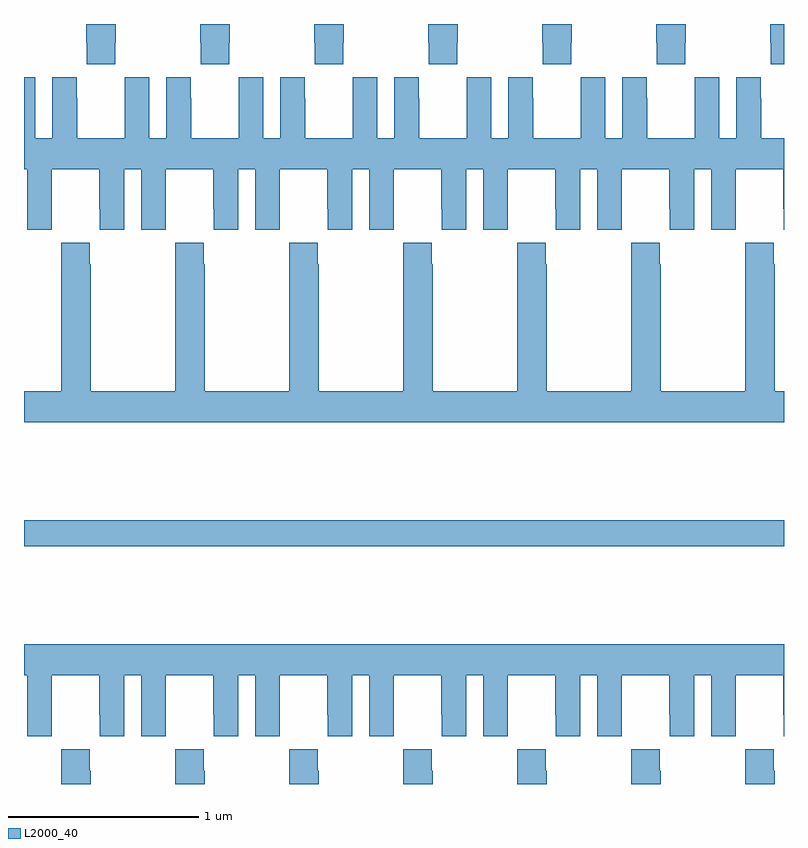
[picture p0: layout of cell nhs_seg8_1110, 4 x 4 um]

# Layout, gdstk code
import gdstk
lib = gdstk.Library(unit=1e-6, precision=1e-09)
def R(c, l, rs):  # rectangles x0, y0, x1, y1
    for r in rs: c.add(gdstk.rectangle(r[:2], r[2:], *l))
def P(c, l, *ps):  # polygons
    for p in ps: c.add(gdstk.Polygon(p, *l))
L2000_40 = (2000, 40)

nhs_seg8_1110 = lib.new_cell('nhs_seg8_1110')
R(nhs_seg8_1110, L2000_40, [(181,1145.152,185,1145.288)])
P(nhs_seg8_1110, L2000_40, [(181.479,1147.801),(181.482,1147.801),(181.482,1147.9),(181.327,1147.9),(181.327,1147.801),(181.329,1147.801),(181.329,1147.689),(181.479,1147.689)],
  [(182.079,1147.801),(182.082,1147.801),(182.082,1147.9),(181.927,1147.9),(181.927,1147.801),(181.929,1147.801),(181.929,1147.689),(182.079,1147.689)],
  [(182.679,1147.801),(182.682,1147.801),(182.682,1147.9),(182.527,1147.9),(182.527,1147.801),(182.529,1147.801),(182.529,1147.689),(182.679,1147.689)],
  [(183.279,1147.801),(183.282,1147.801),(183.282,1147.9),(183.127,1147.9),(183.127,1147.801),(183.129,1147.801),(183.129,1147.689),(183.279,1147.689)],
  [(183.879,1147.801),(183.882,1147.801),(183.882,1147.9),(183.727,1147.9),(183.727,1147.801),(183.729,1147.801),(183.729,1147.689),(183.879,1147.689)],
  [(184.479,1147.801),(184.482,1147.801),(184.482,1147.9),(184.327,1147.9),(184.327,1147.801),(184.329,1147.801),(184.329,1147.689),(184.479,1147.689)],
  [(185,1147.9),(184.927,1147.9),(184.927,1147.801),(184.929,1147.801),(184.929,1147.689),(185,1147.689)],
  [(183.33,1147.508),(183.329,1147.508),(183.329,1147.3),(183.079,1147.3),(183.079,1147.508),(183.078,1147.508),(183.078,1147.621),(182.948,1147.621),(182.948,1147.3),(182.86,1147.3),(182.86,1147.621),(182.73,1147.621),(182.73,1147.508),(182.729,1147.508),(182.729,1147.3),(182.479,1147.3),(182.479,1147.508),(182.478,1147.508),(182.478,1147.621),(182.348,1147.621),(182.348,1147.3),(182.26,1147.3),(182.26,1147.621),(182.13,1147.621),(182.13,1147.508),(182.129,1147.508),(182.129,1147.3),(181.879,1147.3),(181.879,1147.508),(181.878,1147.508),(181.878,1147.621),(181.748,1147.621),(181.748,1147.3),(181.66,1147.3),(181.66,1147.621),(181.53,1147.621),(181.53,1147.508),(181.529,1147.508),(181.529,1147.3),(181.279,1147.3),(181.279,1147.508),(181.278,1147.508),(181.278,1147.621),(181.148,1147.621),(181.148,1147.3),(181.06,1147.3),(181.06,1147.621),(181,1147.621),(181,1147.136),(181.016,1147.136),(181.016,1146.816),(181.146,1146.816),(181.146,1146.928),(181.147,1146.928),(181.147,1147.136),(181.397,1147.136),(181.397,1146.928),(181.398,1146.928),(181.398,1146.816),(181.528,1146.816),(181.528,1147.136),(181.616,1147.136),(181.616,1146.816),(181.746,1146.816),(181.746,1146.928),(181.747,1146.928),(181.747,1147.136),(181.997,1147.136),(181.997,1146.928),(181.998,1146.928),(181.998,1146.816),(182.128,1146.816),(182.128,1147.136),(182.216,1147.136),(182.216,1146.816),(182.346,1146.816),(182.346,1146.928),(182.347,1146.928),(182.347,1147.136),(182.597,1147.136),(182.597,1146.928),(182.598,1146.928),(182.598,1146.816),(182.728,1146.816),(182.728,1147.136),(182.816,1147.136),(182.816,1146.816),(182.946,1146.816),(182.946,1146.928),(182.947,1146.928),(182.947,1147.136),(183.197,1147.136),(183.197,1146.928),(183.198,1146.928),(183.198,1146.816),(183.328,1146.816),(183.328,1147.136),(183.416,1147.136),(183.416,1146.816),(183.546,1146.816),(183.546,1146.928),(183.547,1146.928),(183.547,1147.136),(183.797,1147.136),(183.797,1146.928),(183.798,1146.928),(183.798,1146.816),(183.928,1146.816),(183.928,1147.136),(184.016,1147.136),(184.016,1146.816),(184.146,1146.816),(184.146,1146.928),(184.147,1146.928),(184.147,1147.136),(184.397,1147.136),(184.397,1146.928),(184.398,1146.928),(184.398,1146.816),(184.528,1146.816),(184.528,1147.136),(184.616,1147.136),(184.616,1146.816),(184.746,1146.816),(184.746,1146.928),(184.747,1146.928),(184.747,1147.136),(184.997,1147.136),(184.997,1146.928),(184.998,1146.928),(184.998,1146.816),(185,1146.816),(185,1147.3),(184.879,1147.3),(184.879,1147.508),(184.878,1147.508),(184.878,1147.621),(184.748,1147.621),(184.748,1147.3),(184.66,1147.3),(184.66,1147.621),(184.53,1147.621),(184.53,1147.508),(184.529,1147.508),(184.529,1147.3),(184.279,1147.3),(184.279,1147.508),(184.278,1147.508),(184.278,1147.621),(184.148,1147.621),(184.148,1147.3),(184.06,1147.3),(184.06,1147.621),(183.93,1147.621),(183.93,1147.508),(183.929,1147.508),(183.929,1147.3),(183.679,1147.3),(183.679,1147.508),(183.678,1147.508),(183.678,1147.621),(183.548,1147.621),(183.548,1147.3),(183.46,1147.3),(183.46,1147.621),(183.33,1147.621)],
  [(185,1145.968),(184.95,1145.968),(184.95,1146.635),(184.947,1146.635),(184.947,1146.748),(184.797,1146.748),(184.797,1146.635),(184.795,1146.635),(184.795,1145.968),(184.35,1145.968),(184.35,1146.635),(184.347,1146.635),(184.347,1146.748),(184.197,1146.748),(184.197,1146.635),(184.195,1146.635),(184.195,1145.968),(183.75,1145.968),(183.75,1146.635),(183.747,1146.635),(183.747,1146.748),(183.597,1146.748),(183.597,1146.635),(183.595,1146.635),(183.595,1145.968),(183.15,1145.968),(183.15,1146.635),(183.147,1146.635),(183.147,1146.748),(182.997,1146.748),(182.997,1146.635),(182.995,1146.635),(182.995,1145.968),(182.55,1145.968),(182.55,1146.635),(182.547,1146.635),(182.547,1146.748),(182.397,1146.748),(182.397,1146.635),(182.395,1146.635),(182.395,1145.968),(181.95,1145.968),(181.95,1146.635),(181.947,1146.635),(181.947,1146.748),(181.797,1146.748),(181.797,1146.635),(181.795,1146.635),(181.795,1145.968),(181.35,1145.968),(181.35,1146.635),(181.347,1146.635),(181.347,1146.748),(181.197,1146.748),(181.197,1146.635),(181.195,1146.635),(181.195,1145.968),(181,1145.968),(181,1145.804),(185,1145.804)],
  [(181,1144.472),(181.016,1144.472),(181.016,1144.152),(181.146,1144.152),(181.146,1144.264),(181.147,1144.264),(181.147,1144.472),(181.397,1144.472),(181.397,1144.264),(181.398,1144.264),(181.398,1144.152),(181.528,1144.152),(181.528,1144.472),(181.616,1144.472),(181.616,1144.152),(181.746,1144.152),(181.746,1144.264),(181.747,1144.264),(181.747,1144.472),(181.997,1144.472),(181.997,1144.264),(181.998,1144.264),(181.998,1144.152),(182.128,1144.152),(182.128,1144.472),(182.216,1144.472),(182.216,1144.152),(182.346,1144.152),(182.346,1144.264),(182.347,1144.264),(182.347,1144.472),(182.597,1144.472),(182.597,1144.264),(182.598,1144.264),(182.598,1144.152),(182.728,1144.152),(182.728,1144.472),(182.816,1144.472),(182.816,1144.152),(182.946,1144.152),(182.946,1144.264),(182.947,1144.264),(182.947,1144.472),(183.197,1144.472),(183.197,1144.264),(183.198,1144.264),(183.198,1144.152),(183.328,1144.152),(183.328,1144.472),(183.416,1144.472),(183.416,1144.152),(183.546,1144.152),(183.546,1144.264),(183.547,1144.264),(183.547,1144.472),(183.797,1144.472),(183.797,1144.264),(183.798,1144.264),(183.798,1144.152),(183.928,1144.152),(183.928,1144.472),(184.016,1144.472),(184.016,1144.152),(184.146,1144.152),(184.146,1144.264),(184.147,1144.264),(184.147,1144.472),(184.397,1144.472),(184.397,1144.264),(184.398,1144.264),(184.398,1144.152),(184.528,1144.152),(184.528,1144.472),(184.616,1144.472),(184.616,1144.152),(184.746,1144.152),(184.746,1144.264),(184.747,1144.264),(184.747,1144.472),(184.997,1144.472),(184.997,1144.264),(184.998,1144.264),(184.998,1144.152),(185,1144.152),(185,1144.636),(181,1144.636)],
  [(184.95,1143.971),(184.947,1143.971),(184.947,1144.084),(184.797,1144.084),(184.797,1143.971),(184.795,1143.971),(184.795,1143.9),(184.95,1143.9)],
  [(184.35,1143.971),(184.347,1143.971),(184.347,1144.084),(184.197,1144.084),(184.197,1143.971),(184.195,1143.971),(184.195,1143.9),(184.35,1143.9)],
  [(183.75,1143.971),(183.747,1143.971),(183.747,1144.084),(183.597,1144.084),(183.597,1143.971),(183.595,1143.971),(183.595,1143.9),(183.75,1143.9)],
  [(183.15,1143.971),(183.147,1143.971),(183.147,1144.084),(182.997,1144.084),(182.997,1143.971),(182.995,1143.971),(182.995,1143.9),(183.15,1143.9)],
  [(182.55,1143.971),(182.547,1143.971),(182.547,1144.084),(182.397,1144.084),(182.397,1143.971),(182.395,1143.971),(182.395,1143.9),(182.55,1143.9)],
  [(181.95,1143.971),(181.947,1143.971),(181.947,1144.084),(181.797,1144.084),(181.797,1143.971),(181.795,1143.971),(181.795,1143.9),(181.95,1143.9)],
  [(181.35,1143.971),(181.347,1143.971),(181.347,1144.084),(181.197,1144.084),(181.197,1143.971),(181.195,1143.971),(181.195,1143.9),(181.35,1143.9)])

lib.write_gds('nhs_seg8_1110.gds')
